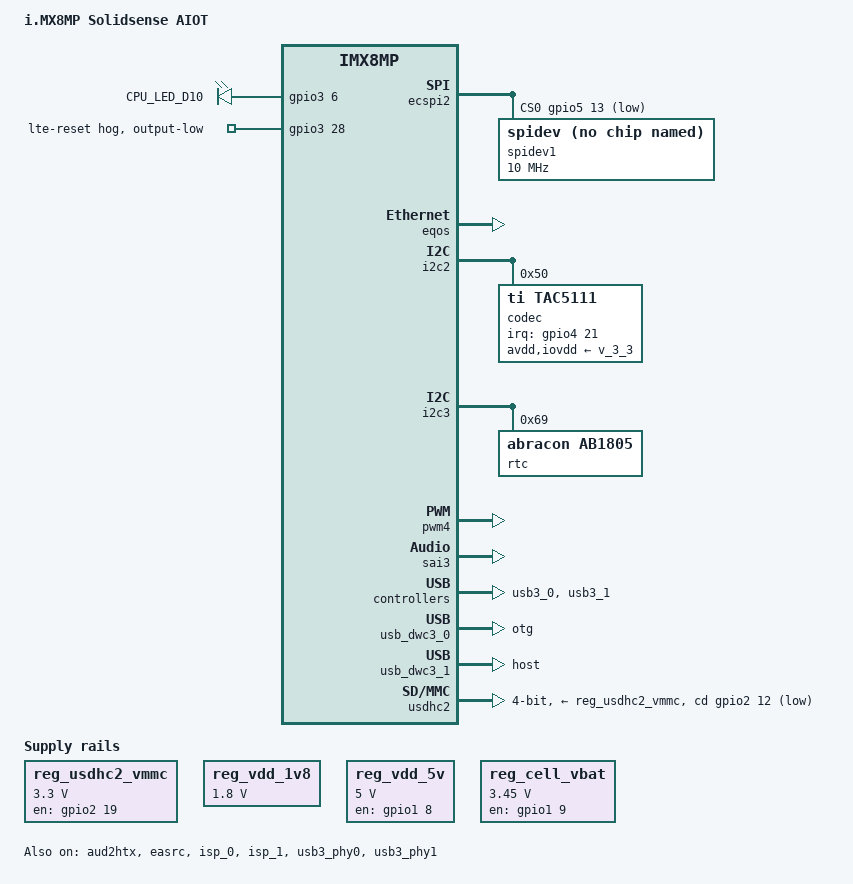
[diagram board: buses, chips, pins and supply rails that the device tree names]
/dts-v1/;

#include <dt-bindings/usb/pd.h>
#include "imx8mp-sr-som.dtsi"

/ {
	model = "i.MX8MP Solidsense AIOT";
	compatible = "solidrun,imx8mp-solidsense-aiot",
		     "solidrun,imx8mp-sr-som", "fsl,imx8mp";

	leds {
		compatible = "gpio-leds";
		pinctrl-names = "default";
		pinctrl-0 = <&pinctrl_gpio_led>;

		CPU_LED_D10 {
			label = "CPU_LED_D10";
			gpios = <&gpio3 6 0>;
			default-state = "on";
		};
	};

	reg_usdhc2_vmmc: regulator-usdhc2 {
		compatible = "regulator-fixed";
		pinctrl-names = "default";
		pinctrl-0 = <&pinctrl_reg_usdhc2_vmmc>;
		regulator-name = "VSD_3V3";
		regulator-min-microvolt = <3300000>;
		regulator-max-microvolt = <3300000>;
		gpio = <&gpio2 19 GPIO_ACTIVE_HIGH>;
		enable-active-high;
	};

	reg_vdd_1v8: regulator-vdd-1v8 {
		compatible = "regulator-fixed";
		regulator-name = "VDD_1V8";
		vdd-3v3-supply = <&buck4>;
		regulator-min-microvolt = <1800000>;
		regulator-max-microvolt = <1800000>;
		regulator-always-on;
	};

	reg_vdd_5v: regulator-vdd-5v {
		compatible = "regulator-fixed";
		pinctrl-names = "default";
		pinctrl-0 = <&pinctrl_reg_cam_aud_pwr>;
		regulator-name = "CAM_AUD_PWR_EN_VDD_5V";
		regulator-min-microvolt = <5000000>;
		regulator-max-microvolt = <5000000>;
		gpio = <&gpio1 8 GPIO_ACTIVE_HIGH>;
		enable-active-high;
	};

	/* <TBD> */
	/* LTE_PWR - CELL_VBAT 3.45V (J7[14]) MX8MP_IOMUXC_GPIO1_IO09__GPIO1_IO09 */
	reg_cell_vbat: regulator-cell-vbat {
		compatible = "regulator-fixed";
		pinctrl-names = "default";
		pinctrl-0 = <&pinctrl_reg_cell_vbat>;
		regulator-name = "CELL_VBAT";
		regulator-min-microvolt = <3450000>;
		regulator-max-microvolt = <3450000>;
		gpio = <&gpio1 9 GPIO_ACTIVE_HIGH>;
		enable-active-high;
	};

	sound-tac5111 {
		/*
		 * TAC5111 Codec on i.MX8 SAI3 with 4-wire i2s interface.
		 *
		 * - SoC generates MCLK for Codec at 24.576
		 *   (avoids clock drift between SoC and Codec)
		 * - SoC is bitclock and frame master
		 * - I2S interface width max. S32_LE
		 * - Codec GPIO1 & GPIO2 with dual PDM microphone
		 * - Codec OUT1P/OUT1M differential mono output
		 *   routed to speaker through amplifier
		 *
		 */
		compatible = "simple-audio-card";
		simple-audio-card,format = "i2s";
		simple-audio-card,name = "Analog";
		simple-audio-card,bitclock-master = <&cpu_dai>;
		simple-audio-card,frame-master = <&cpu_dai>;

		simple-audio-card,widgets =
			"Line", "Line In",
			"Line", "Line Out";

		simple-audio-card,routing =
			"DIN1", "Line In",
			"DIN2", "Line In",
			"Line Out", "OUT1";

		cpu_dai: simple-audio-card,cpu {
			sound-dai = <&sai3>;
		};

		codec_dai: simple-audio-card,codec {
			sound-dai = <&codec>;
			/* this ensures codec set_sysclk call-back executes */
			system-clock-frequency = <24576000>;
			mclk-fs = <512>;
		};
	};
};

/* <TBD> */
&gpio3 {
	pinctrl-0 = <&lte_reset_pins>;
	pinctrl-names = "default";

	lte-reset-hog {
		gpio-hog;
		gpios = <28 GPIO_ACTIVE_HIGH>;
		output-low;
		line-name = "lte-reset";
	};
};

&aud2htx {
	status = "okay";
};

&easrc {
	fsl,asrc-rate  = <48000>;
	status = "okay";
};

&ecspi2 {
	#address-cells = <1>;
	#size-cells = <0>;
	fsl,spi-num-chipselects = <1>;
	pinctrl-names = "default";
	pinctrl-0 = <&pinctrl_ecspi2 &pinctrl_ecspi2_cs>;
	cs-gpios = <&gpio5 13 GPIO_ACTIVE_LOW>;
	status = "okay";

	spidev1: spi@0 {
		reg = <0>;
		compatible = "rohm,dh2228fv"; /* spidev */
		spi-max-frequency = <10000000>;
		status = "okay";
	};
};

/*eth0*/
&eqos {
	status = "okay";
};

&flexspi {
	pinctrl-names = "default";
	status = "disabled";
};

&i2c2 {
	codec: audio-codec@50 {
		compatible = "ti,tac5111";
		reg = <0x50>;
		#sound-dai-cells = <0>;
		pinctrl-names = "default";
		pinctrl-0 = <&pinctrl_codec>;
		interrupts-extended = <&gpio4 21 IRQ_TYPE_EDGE_FALLING>;
		avdd-supply = <&v_3_3>;
		iovdd-supply = <&v_3_3>;
		/*
		 * configure gpio functionality on gpio pins:
		 * - GPIO1: pdm data input
		 * - GPIO2: pdm clock output
		 * - GPO1:  chip irq output
		 */
		ti,gpios-func = <1>, <4>, <3>;
		/*
		 * select pdm input pins for channels 1/2 & 3/4:
		 * - ch0/1: gpio1
		 * - ch2/3: not used
		 */
		ti,pdm-input-pins = <1>, <0>;
		/* configure gpi1 as cclk input */
		ti,gpi1-func = <2>;
		/*
		 * configure MICBIAS and VREF to fix driver probe error:
		 * [    8.570840] tac5x1x-codec 1-0050: Fail to get verf E:-22
		 *
		 * Yet bindings clearly state to that these are powered down if "node" (read property) omitted:
		 * - "If node is omitted then MicBias is powered down."
		 * - "If node is omitted then VREF is powered down."
		 * This board does not use them ...
		 */
		ti,vref = <0>;
		ti,micbias-vg = <3>;
		/* configure gpi(o) drive:
		 * - GPIO1: floating, i.e. output buffer disabled
		 * - GPIO2: push-pull, i.e. active low & active high (PDM clock)
		 * - GPO1:  open-drain, i.e. active low & high impedance
		 */
		ti,gpios-drive = <0>, <1>, <3>;
		ti,gpa-gpio = <0>;
		ti,gpa-threshold = <75>, <186>;
	};
};

&i2c3 {
	rtc: rtc@69 {
		compatible = "abracon,ab1805";
		reg = <0x69>;
		abracon,tc-diode = "schottky";
		abracon,tc-resistor = <3>;
	};
};

&irqsteer_hdmi {
	status = "disabled";
};

&hdmi {
	status = "disabled";
};

&hdmi_blk_ctrl {
	status = "disabled";
};

&hdmi_pavi {
	status = "disabled";
};

&hdmiphy {
	status = "disabled";
};

&isp_0 {
	status = "okay";
};

&isp_1 {
	status = "okay";
};

&lcdif1 {
	status = "disabled";
};

&lcdif3 {
	status = "disabled";
};

&micfil {
	pinctrl-names = "default";
	pinctrl-0 = <&pinctrl_pdm>;
	assigned-clocks = <&clk IMX8MP_CLK_PDM>;
	assigned-clock-parents = <&clk IMX8MP_AUDIO_PLL1_OUT>;
	assigned-clock-rates = <196608000>;
	status = "disabled";
};

&mipi_csi_0 {
	#address-cells = <1>;
	#size-cells = <0>;
	clock-frequency = <266000000>;
	assigned-clock-parents = <&clk IMX8MP_SYS_PLL1_266M>;
	assigned-clock-rates = <266000000>;
	status = "disabled";

};

&mipi_csi_1 {
	status = "disabled";
};

&mipi_dsi {
	status = "disabled";
};

&pcie{
	pinctrl-names = "default";
	// PCIe reset signals are board-related
	ext_osc = <0>;
	clocks = <&clk IMX8MP_CLK_HSIO_ROOT>,
		 <&clk IMX8MP_CLK_PCIE_AUX>,
		 <&clk IMX8MP_CLK_HSIO_AXI>,
		 <&clk IMX8MP_CLK_PCIE_ROOT>;
	clock-names = "pcie", "pcie_aux", "pcie_phy", "pcie_bus";
	assigned-clocks = <&clk IMX8MP_CLK_HSIO_AXI>,
			  <&clk IMX8MP_CLK_PCIE_AUX>;
	assigned-clock-rates = <500000000>, <10000000>;
	assigned-clock-parents = <&clk IMX8MP_SYS_PLL2_500M>,
				 <&clk IMX8MP_SYS_PLL2_50M>;
	status = "disabled";
};

&pcie_phy{
	ext_osc = <0>;
	status = "disabled";
};

&pwm4 {
	pinctrl-names = "default";
	pinctrl-0 = <&pinctrl_pwm4>;
	status = "okay";
};

&sai3 {
	pinctrl-names = "default";
	pinctrl-0 = <&pinctrl_sai3>;
	assigned-clocks = <&clk IMX8MP_CLK_SAI3>;
	assigned-clock-parents = <&clk IMX8MP_AUDIO_PLL1_OUT>;
	assigned-clock-rates = <24576000>;
	fsl,sai-mclk-direction-output;
	#sound-dai-cells = <0>;
	status = "okay";
};

&sdma2 {
        status = "okay";
};

&uart3 {
	pinctrl-names = "default";
	assigned-clocks = <&clk IMX8MP_CLK_UART3>;
	assigned-clock-parents = <&clk IMX8MP_SYS_PLL1_80M>;
	status = "disabled";
};

&usb3_phy0 {
	fsl,phy-tx-vref-tune = <0xe>;
	fsl,phy-tx-preemp-amp-tune = <3>;
	fsl,phy-tx-vboost-level = <5>;
	fsl,phy-comp-dis-tune = <7>;
	fsl,pcs-tx-deemph-3p5db = <0x21>;
	fsl,phy-pcs-tx-swing-full = <0x7f>;
	status = "okay";
};

&usb3_0 {
	status = "okay";
};

&usb_dwc3_0 {
	dr_mode = "otg";
	snps,dis-u1-entry-quirk;
	snps,dis-u2-entry-quirk;
	usb-role-switch;
	role-switch-default-mode = "host";
	status = "okay";
};

&usb3_phy1 {
	fsl,phy-tx-vref-tune = <0xe>;
	fsl,phy-tx-preemp-amp-tune = <3>;
	fsl,phy-tx-vboost-level = <5>;
	fsl,phy-comp-dis-tune = <7>;
	fsl,pcs-tx-deemph-3p5db = <0x21>;
	fsl,phy-pcs-tx-swing-full = <0x7f>;
	status = "okay";
};

&usb3_1 {
	status = "okay";
};

&usb_dwc3_1 {
	dr_mode = "host";
	snps,dis-u1-entry-quirk;
	snps,dis-u2-entry-quirk;
	status = "okay";
};

&usdhc2 {
	assigned-clocks = <&clk IMX8MP_CLK_USDHC2>;
	assigned-clock-rates = <400000000>;
	pinctrl-names = "default", "state_100mhz", "state_200mhz";
	pinctrl-0 = <&pinctrl_usdhc2>, <&pinctrl_usdhc2_gpio>;
	pinctrl-1 = <&pinctrl_usdhc2_100mhz>, <&pinctrl_usdhc2_gpio>;
	pinctrl-2 = <&pinctrl_usdhc2_200mhz>, <&pinctrl_usdhc2_gpio>;
	cd-gpios = <&gpio2 12 GPIO_ACTIVE_LOW>;
	vmmc-supply = <&reg_usdhc2_vmmc>;
	voltage-ranges = <1800 1800 3300 3300>;
	bus-width = <4>;
	status = "okay";
};

&iomuxc {
	pinctrl_codec: codecgrp {
		fsl,pins = <
			/* pull-up */
			MX8MP_IOMUXC_SAI2_RXFS__GPIO4_IO21		0x140
		>;
	};

	pinctrl_ecspi2: ecspi2grp {
		fsl,pins = <
			MX8MP_IOMUXC_ECSPI2_SCLK__ECSPI2_SCLK		0x82
			MX8MP_IOMUXC_ECSPI2_MOSI__ECSPI2_MOSI		0x82
			MX8MP_IOMUXC_ECSPI2_MISO__ECSPI2_MISO		0x82
		>;
	};

	pinctrl_ecspi2_cs: ecspi2cs {
		fsl,pins = <
			MX8MP_IOMUXC_ECSPI2_SS0__GPIO5_IO13		0x40000
		>;
	};

	pinctrl_gpio_led: gpioledgrp {
		fsl,pins = <
			MX8MP_IOMUXC_NAND_DATA00__GPIO3_IO06	0x19
		>;
	};

	pinctrl_pdm: pdmgrp {
		fsl,pins = <
			MX8MP_IOMUXC_SAI5_RXC__AUDIOMIX_PDM_CLK			0xd6
			MX8MP_IOMUXC_SAI5_RXD0__AUDIOMIX_PDM_BIT_STREAM00	0xd6
			MX8MP_IOMUXC_SAI5_RXD1__AUDIOMIX_PDM_BIT_STREAM01	0xd6
			MX8MP_IOMUXC_SAI5_RXD2__AUDIOMIX_PDM_BIT_STREAM02	0xd6
			MX8MP_IOMUXC_SAI5_RXD3__AUDIOMIX_PDM_BIT_STREAM03	0xd6
		>;
	};

	pinctrl_pwm4: pwm4grp {
		fsl,pins = <
			MX8MP_IOMUXC_SAI5_RXFS__PWM4_OUT		0x116
		>;
	};

	pinctrl_reg_usdhc2_vmmc: regusdhc2vmmcgrp {
		fsl,pins = <
			MX8MP_IOMUXC_SD2_RESET_B__GPIO2_IO19		0x40
		>;
	};

	pinctrl_reg_cam_aud_pwr: regcamaudpwrgrp {
		fsl,pins = <
			MX8MP_IOMUXC_GPIO1_IO08__GPIO1_IO08		0x40
		>;
	};

	pinctrl_reg_cell_vbat: regcellvbatgrp {
		fsl,pins = <
			MX8MP_IOMUXC_GPIO1_IO09__GPIO1_IO09		0x40
		>;
	};

	pinctrl_sai3: sai3grp {
		fsl,pins = <
			/* weak pull-down */
			MX8MP_IOMUXC_SAI3_MCLK__AUDIOMIX_SAI3_MCLK	0x100
			MX8MP_IOMUXC_SAI3_TXFS__AUDIOMIX_SAI3_TX_SYNC	0x100
			MX8MP_IOMUXC_SAI3_TXC__AUDIOMIX_SAI3_TX_BCLK	0x100
			MX8MP_IOMUXC_SAI3_TXD__AUDIOMIX_SAI3_TX_DATA00	0x100
			/* schmitt trigger, weak pull-down */
			MX8MP_IOMUXC_SAI3_RXD__AUDIOMIX_SAI3_RX_DATA00	0x180
		>;
	};

	pinctrl_usdhc2: usdhc2grp {
		fsl,pins = <
			MX8MP_IOMUXC_SD2_CLK__USDHC2_CLK		0x190
			MX8MP_IOMUXC_SD2_CMD__USDHC2_CMD		0x1d0
			MX8MP_IOMUXC_SD2_DATA0__USDHC2_DATA0		0x1d0
			MX8MP_IOMUXC_SD2_DATA1__USDHC2_DATA1		0x1d0
			MX8MP_IOMUXC_SD2_DATA2__USDHC2_DATA2		0x1d0
			MX8MP_IOMUXC_SD2_DATA3__USDHC2_DATA3		0x1d0
			MX8MP_IOMUXC_GPIO1_IO04__USDHC2_VSELECT		0xc1
		>;
	};

	pinctrl_usdhc2_100mhz: usdhc2grp-100mhz {
		fsl,pins = <
			MX8MP_IOMUXC_SD2_CLK__USDHC2_CLK		0x194
			MX8MP_IOMUXC_SD2_CMD__USDHC2_CMD		0x1d4
			MX8MP_IOMUXC_SD2_DATA0__USDHC2_DATA0		0x1d4
			MX8MP_IOMUXC_SD2_DATA1__USDHC2_DATA1		0x1d4
			MX8MP_IOMUXC_SD2_DATA2__USDHC2_DATA2		0x1d4
			MX8MP_IOMUXC_SD2_DATA3__USDHC2_DATA3		0x1d4
			MX8MP_IOMUXC_GPIO1_IO04__USDHC2_VSELECT 	0xc1
		>;
	};

	pinctrl_usdhc2_200mhz: usdhc2grp-200mhz {
		fsl,pins = <
			MX8MP_IOMUXC_SD2_CLK__USDHC2_CLK		0x196
			MX8MP_IOMUXC_SD2_CMD__USDHC2_CMD		0x1d6
			MX8MP_IOMUXC_SD2_DATA0__USDHC2_DATA0		0x1d6
			MX8MP_IOMUXC_SD2_DATA1__USDHC2_DATA1		0x1d6
			MX8MP_IOMUXC_SD2_DATA2__USDHC2_DATA2		0x1d6
			MX8MP_IOMUXC_SD2_DATA3__USDHC2_DATA3		0x1d6
			MX8MP_IOMUXC_GPIO1_IO04__USDHC2_VSELECT 	0xc1
		>;
	};

	pinctrl_usdhc2_gpio: usdhc2grp-gpio {
		fsl,pins = <
			MX8MP_IOMUXC_SD2_CD_B__GPIO2_IO12 		0x1c4
		>;
	};

	/* <TBD> */
	lte_reset_pins: lte-reset-pins {
		fsl,pins = <
				MX8MP_IOMUXC_HDMI_CEC__GPIO3_IO28	0x20
		>;
	};
};
